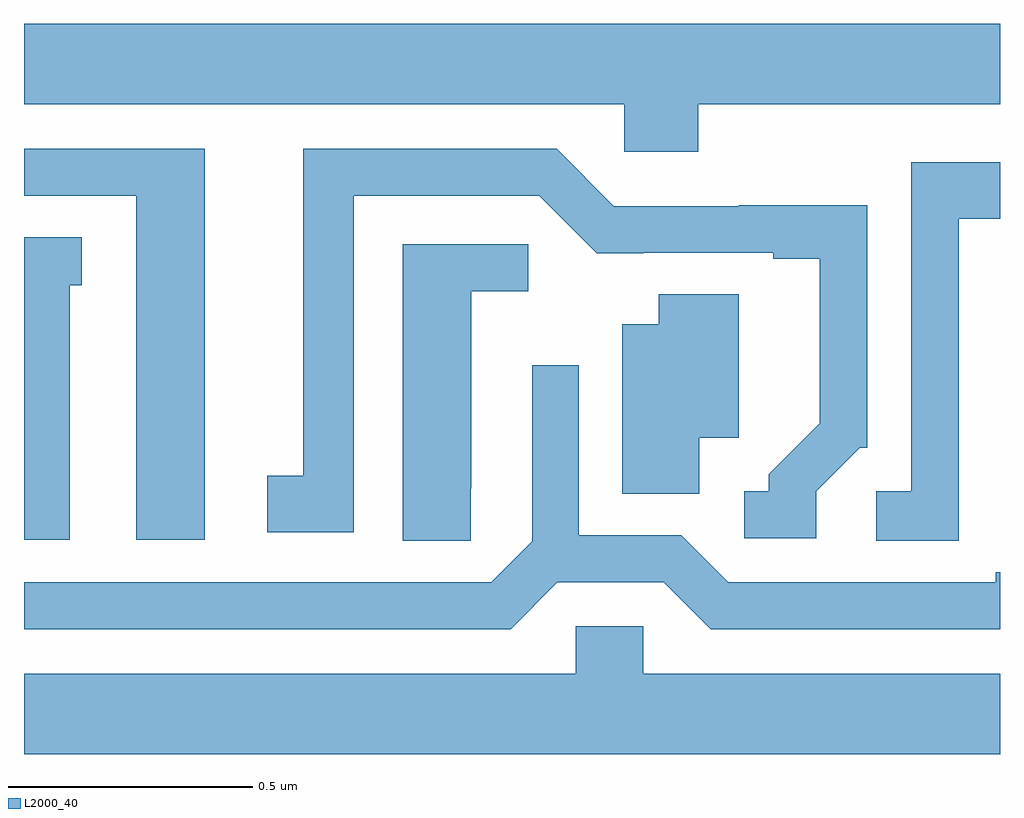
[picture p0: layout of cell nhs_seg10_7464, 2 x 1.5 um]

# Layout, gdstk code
import gdstk
lib = gdstk.Library(unit=1e-6, precision=1e-09)
def P(c, l, *ps):  # polygons
    for p in ps: c.add(gdstk.Polygon(p, *l))
L2000_40 = (2000, 40)

nhs_seg10_7464 = lib.new_cell('nhs_seg10_7464')
P(nhs_seg10_7464, L2000_40, [(205.382,1300.316),(206,1300.316),(206,1300.48),(204,1300.48),(204,1300.316),(205.23,1300.316),(205.23,1300.218),(205.382,1300.218)],
  [(205.623,1299.522),(205.713,1299.612),(205.728,1299.612),(205.728,1300.109),(205.465,1300.109),(205.465,1300.107),(205.209,1300.107),(205.092,1300.224),(204.572,1300.224),(204.572,1299.554),(204.498,1299.554),(204.498,1299.438),(204.676,1299.438),(204.676,1300.128),(205.056,1300.128),(205.174,1300.01),(205.27,1300.01),(205.27,1300.011),(205.535,1300.011),(205.535,1299.999),(205.631,1299.999),(205.631,1299.662),(205.526,1299.557),(205.526,1299.522),(205.476,1299.522),(205.476,1299.426),(205.623,1299.426)],
  [(204.37,1300.224),(204,1300.224),(204,1300.128),(204.23,1300.128),(204.23,1299.423),(204.37,1299.423)],
  [(205.915,1300.081),(206,1300.081),(206,1300.197),(205.818,1300.197),(205.818,1299.522),(205.746,1299.522),(205.746,1299.421),(205.915,1299.421)],
  [(204.094,1299.945),(204.118,1299.945),(204.118,1300.043),(204,1300.043),(204,1299.423),(204.094,1299.423)],
  [(204.915,1299.529),(204.916,1299.529),(204.916,1299.932),(205.033,1299.932),(205.033,1300.029),(204.776,1300.029),(204.776,1299.421),(204.915,1299.421)],
  [(205.384,1299.632),(205.465,1299.632),(205.465,1299.926),(205.301,1299.926),(205.301,1299.865),(205.226,1299.865),(205.226,1299.517),(205.384,1299.517)],
  [(205.093,1299.336),(205.311,1299.336),(205.407,1299.24),(206,1299.24),(206,1299.356),(205.991,1299.356),(205.991,1299.336),(205.443,1299.336),(205.347,1299.432),(205.137,1299.432),(205.137,1299.781),(205.041,1299.781),(205.041,1299.42),(204.957,1299.336),(204,1299.336),(204,1299.24),(204.997,1299.24)],
  [(206,1299.148),(205.269,1299.148),(205.269,1299.246),(205.131,1299.246),(205.131,1299.148),(204,1299.148),(204,1298.984),(206,1298.984)])

lib.write_gds('nhs_seg10_7464.gds')
